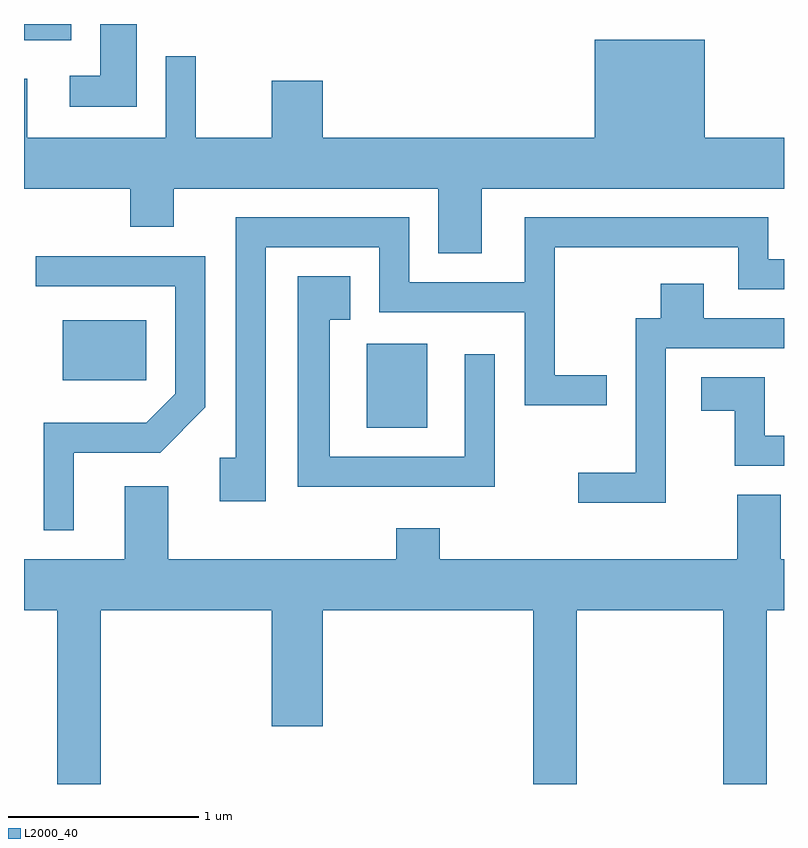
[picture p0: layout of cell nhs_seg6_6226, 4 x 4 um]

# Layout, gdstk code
import gdstk
lib = gdstk.Library(unit=1e-6, precision=1e-09)
def R(c, l, rs):  # rectangles x0, y0, x1, y1
    for r in rs: c.add(gdstk.rectangle(r[:2], r[2:], *l))
def P(c, l, *ps):  # polygons
    for p in ps: c.add(gdstk.Polygon(p, *l))
L2000_40 = (2000, 40)

nhs_seg6_6226 = lib.new_cell('nhs_seg6_6226')
R(nhs_seg6_6226, L2000_40, [(375.416,1622.036,375.734,1622.479), (373.816,1622.286,374.254,1622.604), (373.611,1624.076,373.859,1624.162)])
P(nhs_seg6_6226, L2000_40, [(374.204,1624.162),(374.011,1624.162),(374.011,1623.889),(373.853,1623.889),(373.853,1623.726),(374.204,1623.726)],
  [(376.019,1623.296),(377.611,1623.296),(377.611,1623.564),(377.194,1623.564),(377.194,1624.079),(376.616,1624.079),(376.616,1623.564),(375.184,1623.564),(375.184,1623.864),(374.916,1623.864),(374.916,1623.564),(374.514,1623.564),(374.514,1623.993),(374.356,1623.993),(374.356,1623.564),(373.629,1623.564),(373.629,1623.874),(373.611,1623.874),(373.611,1623.296),(374.171,1623.296),(374.171,1623.096),(374.399,1623.096),(374.399,1623.296),(375.791,1623.296),(375.791,1622.956),(376.019,1622.956)],
  [(374.884,1622.986),(375.481,1622.986),(375.481,1622.646),(376.246,1622.646),(376.246,1622.156),(376.678,1622.156),(376.678,1622.314),(376.404,1622.314),(376.404,1622.986),(377.371,1622.986),(377.371,1622.766),(377.611,1622.766),(377.611,1622.924),(377.529,1622.924),(377.529,1623.144),(376.246,1623.144),(376.246,1622.804),(375.639,1622.804),(375.639,1623.144),(374.726,1623.144),(374.726,1621.879),(374.641,1621.879),(374.641,1621.651),(374.884,1621.651)],
  [(373.874,1621.906),(374.327,1621.906),(374.564,1622.144),(374.564,1622.939),(373.673,1622.939),(373.673,1622.781),(374.406,1622.781),(374.406,1622.217),(374.254,1622.064),(373.716,1622.064),(373.716,1621.498),(373.874,1621.498)],
  [(376.089,1622.423),(375.931,1622.423),(375.931,1621.884),(375.219,1621.884),(375.219,1622.606),(375.329,1622.606),(375.329,1622.834),(375.051,1622.834),(375.051,1621.726),(376.089,1621.726)],
  [(376.989,1622.456),(377.611,1622.456),(377.611,1622.614),(377.189,1622.614),(377.189,1622.794),(376.961,1622.794),(376.961,1622.614),(376.831,1622.614),(376.831,1621.799),(376.528,1621.799),(376.528,1621.641),(376.989,1621.641)],
  [(377.611,1621.994),(377.509,1621.994),(377.509,1622.304),(377.176,1622.304),(377.176,1622.126),(377.351,1622.126),(377.351,1621.836),(377.611,1621.836)],
  [(374.014,1621.076),(374.916,1621.076),(374.916,1620.466),(375.184,1620.466),(375.184,1621.076),(376.291,1621.076),(376.291,1620.162),(376.519,1620.162),(376.519,1621.076),(377.291,1621.076),(377.291,1620.162),(377.519,1620.162),(377.519,1621.076),(377.611,1621.076),(377.611,1621.344),(377.594,1621.344),(377.594,1621.684),(377.366,1621.684),(377.366,1621.344),(375.799,1621.344),(375.799,1621.509),(375.571,1621.509),(375.571,1621.344),(374.369,1621.344),(374.369,1621.729),(374.141,1621.729),(374.141,1621.344),(373.611,1621.344),(373.611,1621.076),(373.786,1621.076),(373.786,1620.162),(374.014,1620.162)])

lib.write_gds('nhs_seg6_6226.gds')
